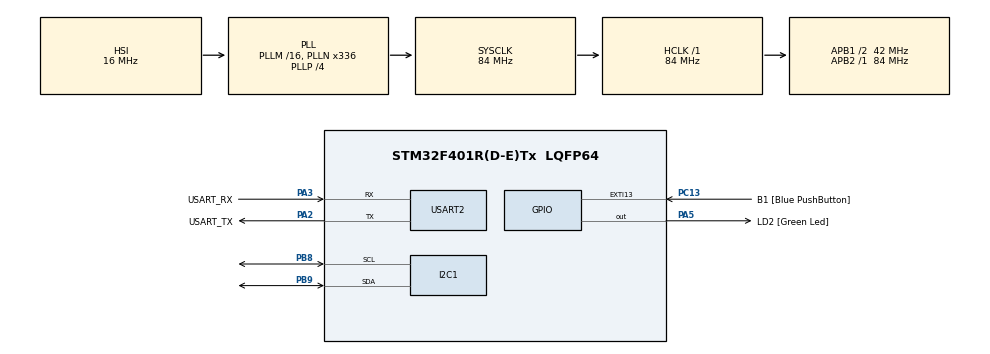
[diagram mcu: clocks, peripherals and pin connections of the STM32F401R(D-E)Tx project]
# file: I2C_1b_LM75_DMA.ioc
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Dma.I2C1_RX.1.Direction=DMA_PERIPH_TO_MEMORY
Dma.I2C1_RX.1.FIFOMode=DMA_FIFOMODE_DISABLE
Dma.I2C1_RX.1.Instance=DMA1_Stream0
Dma.I2C1_RX.1.MemDataAlignment=DMA_MDATAALIGN_BYTE
Dma.I2C1_RX.1.MemInc=DMA_MINC_ENABLE
Dma.I2C1_RX.1.Mode=DMA_NORMAL
Dma.I2C1_RX.1.PeriphDataAlignment=DMA_PDATAALIGN_BYTE
Dma.I2C1_RX.1.PeriphInc=DMA_PINC_DISABLE
Dma.I2C1_RX.1.Priority=DMA_PRIORITY_HIGH
Dma.Request0=USART2_TX
Dma.Request1=I2C1_RX
Dma.USART2_TX.0.Direction=DMA_MEMORY_TO_PERIPH
Dma.USART2_TX.0.FIFOMode=DMA_FIFOMODE_DISABLE
Dma.USART2_TX.0.Instance=DMA1_Stream6
Dma.USART2_TX.0.MemDataAlignment=DMA_MDATAALIGN_BYTE
Dma.USART2_TX.0.MemInc=DMA_MINC_ENABLE
Dma.USART2_TX.0.Mode=DMA_NORMAL
Dma.USART2_TX.0.PeriphDataAlignment=DMA_PDATAALIGN_BYTE
Dma.USART2_TX.0.PeriphInc=DMA_PINC_DISABLE
Dma.USART2_TX.0.Priority=DMA_PRIORITY_HIGH
Mcu.Family=STM32F4
Mcu.Name=STM32F401R(D-E)Tx
Mcu.Package=LQFP64
NVIC.DMA1_Stream0_IRQn=true\:0\:0\:false\:false\:true\:false\:true\:true
NVIC.DMA1_Stream6_IRQn=true\:0\:0\:false\:false\:true\:false\:true\:true
NVIC.I2C1_ER_IRQn=true\:0\:0\:false\:false\:true\:true\:true\:true
NVIC.I2C1_EV_IRQn=true\:0\:0\:false\:false\:true\:true\:true\:true
NVIC.PriorityGroup=NVIC_PRIORITYGROUP_0
NVIC.TIM2_IRQn=true\:0\:0\:false\:false\:true\:true\:true\:true
NVIC.USART2_IRQn=true\:0\:0\:false\:false\:true\:true\:true\:true
PA13.GPIO_Label=TMS
PA13.Mode=Serial_Wire
PA13.Signal=SYS_JTMS-SWDIO
PA14.GPIO_Label=TCK
PA14.Mode=Serial_Wire
PA14.Signal=SYS_JTCK-SWCLK
PA2.GPIO_Label=USART_TX
PA2.GPIO_Mode=GPIO_MODE_AF_PP
PA2.GPIO_PuPd=GPIO_NOPULL
PA2.GPIO_Speed=GPIO_SPEED_FREQ_LOW
PA2.Mode=Asynchronous
PA2.Signal=USART2_TX
PA3.GPIO_Label=USART_RX
PA3.GPIO_Mode=GPIO_MODE_AF_PP
PA3.GPIO_PuPd=GPIO_NOPULL
PA3.GPIO_Speed=GPIO_SPEED_FREQ_LOW
PA3.Mode=Asynchronous
PA3.Signal=USART2_RX
PA5.GPIO_Label=LD2 [Green Led]
PA5.GPIO_Mode=GPIO_MODE_OUTPUT_PP
PA5.GPIO_PuPd=GPIO_NOPULL
PA5.GPIO_Speed=GPIO_SPEED_FREQ_LOW
PA5.Signal=GPIO_Output
PB3.GPIO_Label=SWO
PB3.Signal=SYS_JTDO-SWO
PB8.Mode=I2C
PB8.Signal=I2C1_SCL
PB9.Mode=I2C
PB9.Signal=I2C1_SDA
PC13-ANTI_TAMP.GPIO_Label=B1 [Blue PushButton]
PC13-ANTI_TAMP.GPIO_ModeDefaultEXTI=GPIO_MODE_IT_FALLING
PC13-ANTI_TAMP.GPIO_PuPd=GPIO_NOPULL
PC13-ANTI_TAMP.Signal=GPXTI13
PC14-OSC32_IN.Mode=LSE-External-Oscillator
PC14-OSC32_IN.Signal=RCC_OSC32_IN
PC15-OSC32_OUT.Mode=LSE-External-Oscillator
PC15-OSC32_OUT.Signal=RCC_OSC32_OUT
PH0\ -\ OSC_IN.Mode=HSE-External-Clock-Source
PH0\ -\ OSC_IN.Signal=RCC_OSC_IN
PH1\ -\ OSC_OUT.Mode=HSE-External-Clock-Source
PH1\ -\ OSC_OUT.Signal=RCC_OSC_OUT
ProjectManager.HeapSize=0x200
ProjectManager.StackSize=0x400
ProjectManager.TargetToolchain=STM32CubeIDE
RCC.48MHZClocksFreq_Value=48000000
RCC.AHBFreq_Value=84000000
RCC.APB1CLKDivider=RCC_HCLK_DIV2
RCC.APB1Freq_Value=42000000
RCC.APB1TimFreq_Value=84000000
RCC.APB2Freq_Value=84000000
RCC.APB2TimFreq_Value=84000000
RCC.CortexFreq_Value=84000000
RCC.HCLKFreq_Value=84000000
RCC.HSE_VALUE=8000000
RCC.HSI_VALUE=16000000
RCC.PLLN=336
RCC.PLLP=RCC_PLLP_DIV4
RCC.PLLQ=7
RCC.SYSCLKFreq_VALUE=84000000
RCC.SYSCLKSource=RCC_SYSCLKSOURCE_PLLCLK
RCC.VCOOutputFreq_Value=336000000
TIM2.Period=(TEMPO*10) - 1
TIM2.Prescaler=8400 - 1
USART2.VirtualMode=VM_ASYNC
VP_TIM2_VS_ClockSourceINT.Mode=Internal
board=NUCLEO-F401RE

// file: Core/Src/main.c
/* USER CODE BEGIN Header */
/**
  ******************************************************************************
  * @file           : main.c
  * @brief          : Main program body
  ******************************************************************************
  * @attention
  *
  * Copyright (c) 2024 STMicroelectronics.
  * All rights reserved.
  *
  * This software is licensed under terms that can be found in the LICENSE file
  * in the root directory of this software component.
  * If no LICENSE file comes with this software, it is provided AS-IS.
  *
  ******************************************************************************
  */
/* USER CODE END Header */
#include "main.h"

/* USER CODE BEGIN PD */
#define TEMPO 1000
/* USER CODE END PD */

I2C_HandleTypeDef hi2c1;
DMA_HandleTypeDef hdma_i2c1_rx;

TIM_HandleTypeDef htim2;

UART_HandleTypeDef huart2;
DMA_HandleTypeDef hdma_usart2_tx;

/* USER CODE BEGIN PV */
uint16_t LM75_WR_ADDRESS = 0b10010000; //LM75 write address
uint16_t LM75_RD_ADDRESS = 0b10010001; //LM75 read address
uint16_t LM75_REGISTER   = 0x00;       //Address where the LM75 temperature value can be found

uint8_t data[2]  = {0}; //I2C returned data
uint8_t data_old = 0;   //This variable is needed to solve the LM75B bug, it will store the old decimal part of the temperature

uint16_t size    = 1;    //I2C number of a received or a transferred byte
uint32_t timeout = 10;   //timeout time if communication does not work

char string[32];		 //it contains the string that will be sent via UART
int  string_length = 0;  //initial string length

int16_t concat_data = 0; //Variable to store the arranged value of the 11 bit temperature
float   temperature = 0; //Saving the final computed value of temperature
/* USER CODE END PV */

void SystemClock_Config(void);
static void MX_GPIO_Init(void);
static void MX_DMA_Init(void);
static void MX_USART2_UART_Init(void);
static void MX_I2C1_Init(void);
static void MX_TIM2_Init(void);

/* USER CODE BEGIN 0 */

// ------------------------------------------------------------------ //
// ------ Uncomment this section if you are working with LM75B ------ //
// ------------------------------------------------------------------ //

void HAL_TIM_PeriodElapsedCallback (TIM_HandleTypeDef *htim) {
    // Start I2C reception using DMA
	HAL_StatusTypeDef status_tx = HAL_I2C_Master_Transmit(&hi2c1, LM75_WR_ADDRESS, &LM75_REGISTER, size, timeout);
	HAL_StatusTypeDef status_rx = HAL_I2C_Master_Receive_DMA(&hi2c1, LM75_RD_ADDRESS, data, size + 1);
	if (status_tx != HAL_OK || status_tx != HAL_OK) {
		string_length = snprintf(string, sizeof(string), "I2C DMA Error\n");
	    HAL_UART_Transmit_DMA(&huart2, string, string_length);
	}
}

void HAL_I2C_MasterRxCpltCallback (I2C_HandleTypeDef *hi2c) {

	data_old = data[1]; // Comment this if you're using an LM75B-family chip

	concat_data = ((data[0] << 3) | (data_old >> 5)); // Arranging a new 11-bit word

	if (data[0] & 0x80) { // Check if the sign bit in the first byte is 1 (negative numbers)
		concat_data = concat_data | 0b1111100000000000;  // Sign extend for negative numbers
		temperature = -((~(concat_data) + 1) * 0.125);   // 2's complement for negative value
	} else {
		temperature = (concat_data * 0.125);  // Positive value
	}

	// Transmit the data over UART
	string_length = snprintf(string, sizeof(string), "Temperature: %.3f %cC \n", temperature, 176);
	HAL_UART_Transmit_DMA(&huart2, string, string_length);
}
/*
void HAL_I2C_ErrorCallback(I2C_HandleTypeDef *hi2c) {
    if (hi2c->Instance == I2C1) {
        //HAL_UART_Transmit(&huart2, (uint8_t *)"I2C Error!\n", 11, HAL_MAX_DELAY);
    }
}

void HAL_DMA_ErrorCallback(DMA_HandleTypeDef *hdma) {
    if (hdma->Instance == DMA1_Stream0) {  // Replace with the correct stream if needed
        //HAL_UART_Transmit(&huart2, (uint8_t *)"DMA Error!\n", 11, HAL_MAX_DELAY);
    }
}
*/

/* USER CODE END 0 */

int main(void)
{

  /* MCU Configuration--------------------------------------------------------*/

  /* Reset of all peripherals, Initializes the Flash interface and the Systick. */
  HAL_Init();

  /* Configure the system clock */
  SystemClock_Config();

  /* Initialize all configured peripherals */
  MX_GPIO_Init();
  MX_DMA_Init();
  MX_USART2_UART_Init();
  MX_I2C1_Init();
  MX_TIM2_Init();
  /* USER CODE BEGIN 2 */
  HAL_TIM_Base_Start_IT(&htim2);
  /* USER CODE END 2 */

  /* Infinite loop */
  while (1)
  {

  }
}

void SystemClock_Config(void)
{
  RCC_OscInitTypeDef RCC_OscInitStruct = {0};
  RCC_ClkInitTypeDef RCC_ClkInitStruct = {0};

  /** Configure the main internal regulator output voltage
  */
  __HAL_RCC_PWR_CLK_ENABLE();
  __HAL_PWR_VOLTAGESCALING_CONFIG(PWR_REGULATOR_VOLTAGE_SCALE2);

  /** Initializes the RCC Oscillators according to the specified parameters
  * in the RCC_OscInitTypeDef structure.
  */
  RCC_OscInitStruct.OscillatorType = RCC_OSCILLATORTYPE_HSI;
  RCC_OscInitStruct.HSIState = RCC_HSI_ON;
  RCC_OscInitStruct.HSICalibrationValue = RCC_HSICALIBRATION_DEFAULT;
  RCC_OscInitStruct.PLL.PLLState = RCC_PLL_ON;
  RCC_OscInitStruct.PLL.PLLSource = RCC_PLLSOURCE_HSI;
  RCC_OscInitStruct.PLL.PLLM = 16;
  RCC_OscInitStruct.PLL.PLLN = 336;
  RCC_OscInitStruct.PLL.PLLP = RCC_PLLP_DIV4;
  RCC_OscInitStruct.PLL.PLLQ = 7;
  if (HAL_RCC_OscConfig(&RCC_OscInitStruct) != HAL_OK)
  {
    Error_Handler();
  }

  /** Initializes the CPU, AHB and APB buses clocks
  */
  RCC_ClkInitStruct.ClockType = RCC_CLOCKTYPE_HCLK|RCC_CLOCKTYPE_SYSCLK
                              |RCC_CLOCKTYPE_PCLK1|RCC_CLOCKTYPE_PCLK2;
  RCC_ClkInitStruct.SYSCLKSource = RCC_SYSCLKSOURCE_PLLCLK;
  RCC_ClkInitStruct.AHBCLKDivider = RCC_SYSCLK_DIV1;
  RCC_ClkInitStruct.APB1CLKDivider = RCC_HCLK_DIV2;
  RCC_ClkInitStruct.APB2CLKDivider = RCC_HCLK_DIV1;

  if (HAL_RCC_ClockConfig(&RCC_ClkInitStruct, FLASH_LATENCY_2) != HAL_OK)
  {
    Error_Handler();
  }
}

static void MX_I2C1_Init(void)
{

  hi2c1.Instance = I2C1;
  hi2c1.Init.ClockSpeed = 100000;
  hi2c1.Init.DutyCycle = I2C_DUTYCYCLE_2;
  hi2c1.Init.OwnAddress1 = 0;
  hi2c1.Init.AddressingMode = I2C_ADDRESSINGMODE_7BIT;
  hi2c1.Init.DualAddressMode = I2C_DUALADDRESS_DISABLE;
  hi2c1.Init.OwnAddress2 = 0;
  hi2c1.Init.GeneralCallMode = I2C_GENERALCALL_DISABLE;
  hi2c1.Init.NoStretchMode = I2C_NOSTRETCH_DISABLE;
  if (HAL_I2C_Init(&hi2c1) != HAL_OK)
  {
    Error_Handler();
  }

}

static void MX_TIM2_Init(void)
{

  TIM_ClockConfigTypeDef sClockSourceConfig = {0};
  TIM_MasterConfigTypeDef sMasterConfig = {0};

  htim2.Instance = TIM2;
  htim2.Init.Prescaler = 8400 - 1;
  htim2.Init.CounterMode = TIM_COUNTERMODE_UP;
  htim2.Init.Period = (TEMPO*10) - 1;
  htim2.Init.ClockDivision = TIM_CLOCKDIVISION_DIV1;
  htim2.Init.AutoReloadPreload = TIM_AUTORELOAD_PRELOAD_DISABLE;
  if (HAL_TIM_Base_Init(&htim2) != HAL_OK)
  {
    Error_Handler();
  }
  sClockSourceConfig.ClockSource = TIM_CLOCKSOURCE_INTERNAL;
  if (HAL_TIM_ConfigClockSource(&htim2, &sClockSourceConfig) != HAL_OK)
  {
    Error_Handler();
  }
  sMasterConfig.MasterOutputTrigger = TIM_TRGO_RESET;
  sMasterConfig.MasterSlaveMode = TIM_MASTERSLAVEMODE_DISABLE;
  if (HAL_TIMEx_MasterConfigSynchronization(&htim2, &sMasterConfig) != HAL_OK)
  {
    Error_Handler();
  }

}

static void MX_USART2_UART_Init(void)
{

  huart2.Instance = USART2;
  huart2.Init.BaudRate = 115200;
  huart2.Init.WordLength = UART_WORDLENGTH_8B;
  huart2.Init.StopBits = UART_STOPBITS_1;
  huart2.Init.Parity = UART_PARITY_NONE;
  huart2.Init.Mode = UART_MODE_TX_RX;
  huart2.Init.HwFlowCtl = UART_HWCONTROL_NONE;
  huart2.Init.OverSampling = UART_OVERSAMPLING_16;
  if (HAL_UART_Init(&huart2) != HAL_OK)
  {
    Error_Handler();
  }

}

static void MX_DMA_Init(void)
{

  /* DMA controller clock enable */
  __HAL_RCC_DMA1_CLK_ENABLE();

  /* DMA interrupt init */
  /* DMA1_Stream0_IRQn interrupt configuration */
  HAL_NVIC_SetPriority(DMA1_Stream0_IRQn, 0, 0);
  HAL_NVIC_EnableIRQ(DMA1_Stream0_IRQn);
  /* DMA1_Stream6_IRQn interrupt configuration */
  HAL_NVIC_SetPriority(DMA1_Stream6_IRQn, 0, 0);
  HAL_NVIC_EnableIRQ(DMA1_Stream6_IRQn);

}

static void MX_GPIO_Init(void)
{
  GPIO_InitTypeDef GPIO_InitStruct = {0};

  /* GPIO Ports Clock Enable */
  __HAL_RCC_GPIOC_CLK_ENABLE();
  __HAL_RCC_GPIOH_CLK_ENABLE();
  __HAL_RCC_GPIOA_CLK_ENABLE();
  __HAL_RCC_GPIOB_CLK_ENABLE();

  /*Configure GPIO pin Output Level */
  HAL_GPIO_WritePin(LD2_GPIO_Port, LD2_Pin, GPIO_PIN_RESET);

  /*Configure GPIO pin : B1_Pin */
  GPIO_InitStruct.Pin = B1_Pin;
  GPIO_InitStruct.Mode = GPIO_MODE_IT_FALLING;
  GPIO_InitStruct.Pull = GPIO_NOPULL;
  HAL_GPIO_Init(B1_GPIO_Port, &GPIO_InitStruct);

  /*Configure GPIO pin : LD2_Pin */
  GPIO_InitStruct.Pin = LD2_Pin;
  GPIO_InitStruct.Mode = GPIO_MODE_OUTPUT_PP;
  GPIO_InitStruct.Pull = GPIO_NOPULL;
  GPIO_InitStruct.Speed = GPIO_SPEED_FREQ_LOW;
  HAL_GPIO_Init(LD2_GPIO_Port, &GPIO_InitStruct);

}

void Error_Handler(void)
{
  __disable_irq();
  while (1)
  {
  }
}
